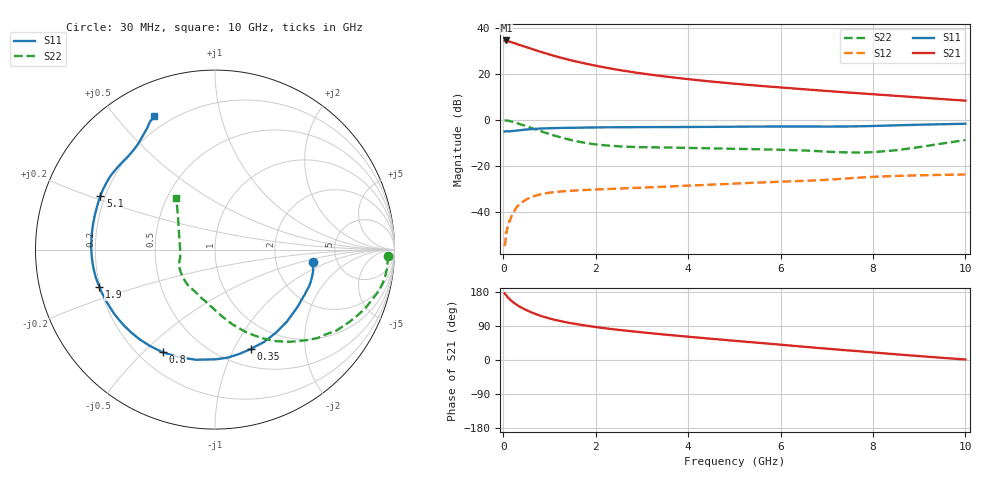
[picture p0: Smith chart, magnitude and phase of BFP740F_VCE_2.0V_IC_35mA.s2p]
! Infineon Technologies  Discrete & RF Semiconductors
! BFP740F
! VCE =  2.0 V,  IC =  35 mA
! Common Emitter S-Parameters:  Oct 2012
# GHz  S  MA  R  50
!  f  S11  S21  S12  S22
! GHz  MAG  ANG  MAG  ANG  MAG  ANG  MAG  ANG
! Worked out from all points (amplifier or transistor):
!   99 points, 30 MHz to 10 GHz, reference 50 ohm
!   highest |S21| = 34.4 dB at 70 MHz (marker M1)
!   |S21| within 3 dB of that: start of sweep to 514.7 MHz
!   unconditionally stable (mu >= 1): 4.758 GHz to end of sweep
!   at 350 MHz: K = 0.19, MSG = 34.6 dB, |S12| = -36.8 dB
!   at 3.5 GHz: K = 0.85, MSG = 23.9 dB, |S12| = -29.1 dB
!   at 10 GHz: K = 1.18, MAG = 13.4 dB, |S12| = -23.8 dB
!   S11 on the Smith chart (normalised r, x): 30 MHz: 3.31, -0.67; 350 MHz: 0.69, -1.17; 800 MHz: 0.29, -0.57; 1.9 GHz: 0.20, -0.15; 5.1 GHz: 0.18, +0.22; 10 GHz: 0.14, +0.63
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0.03  0.5513 -7.4  51.05 175.8  0.0018 80.8  0.9618 -2.1
0.05  0.5596 -12.0  52.26 173.0  0.0024 94.5  0.9644 -4.8
0.07  0.5622 -17.0  52.41 169.8  0.0035 80.5  0.9622 -7.3
0.12  0.5576 -28.8  49.87 162.8  0.0056 77.8  0.9445 -13.3
0.15  0.5599 -35.2  49 159.2  0.0068 78.3  0.9261 -16.4
0.2  0.567 -45.1  47.13 153.8  0.009 74.2  0.8991 -21.3
0.25  0.5743 -54.0  45.55 149.2  0.0109 70.2  0.8685 -25.7
0.35  0.5885 -70.3  41.67 141.2  0.0144 63.5  0.8126 -33.8
0.45  0.606 -83.4  38.92 134.6  0.0172 57.9  0.7545 -40.8
0.6  0.6231 -99.9  34.9 126.2  0.0208 51.0  0.6654 -50.5
0.8  0.6421 -116.9  29.96 117.0  0.024 44.2  0.5691 -60.9
1  0.6528 -129.8  26.03 109.7  0.026 39.2  0.4883 -69.7
1.2  0.66 -139.7  22.83 103.8  0.0274 35.8  0.4249 -77.2
1.4  0.6659 -147.7  20.21 98.7  0.0284 33.4  0.3763 -83.7
1.7  0.6721 -157.1  17.18 92.5  0.0296 31.4  0.3234 -92.6
1.9  0.6772 -162.2  15.58 88.9  0.0303 30.3  0.3001 -98.3
2.5  0.6863 -173.9  12.01 79.5  0.0319 29.4  0.2645 -112.5
3.4  0.6915 173.5  8.93 68.2  0.0348 30.1  0.2503 -125.7
5.1  0.7055 154.8  5.923 49.7  0.0414 31.3  0.2323 -142.5
6.7  0.7099 138.9  4.424 33.1  0.0479 31.7  0.2103 -161.0
8.5  0.7543 121.9  3.292 15.0  0.0602 27.1  0.2172 157.1
10  0.8157 114.6  2.588 1.4  0.0647 21.1  0.3613 126.8
